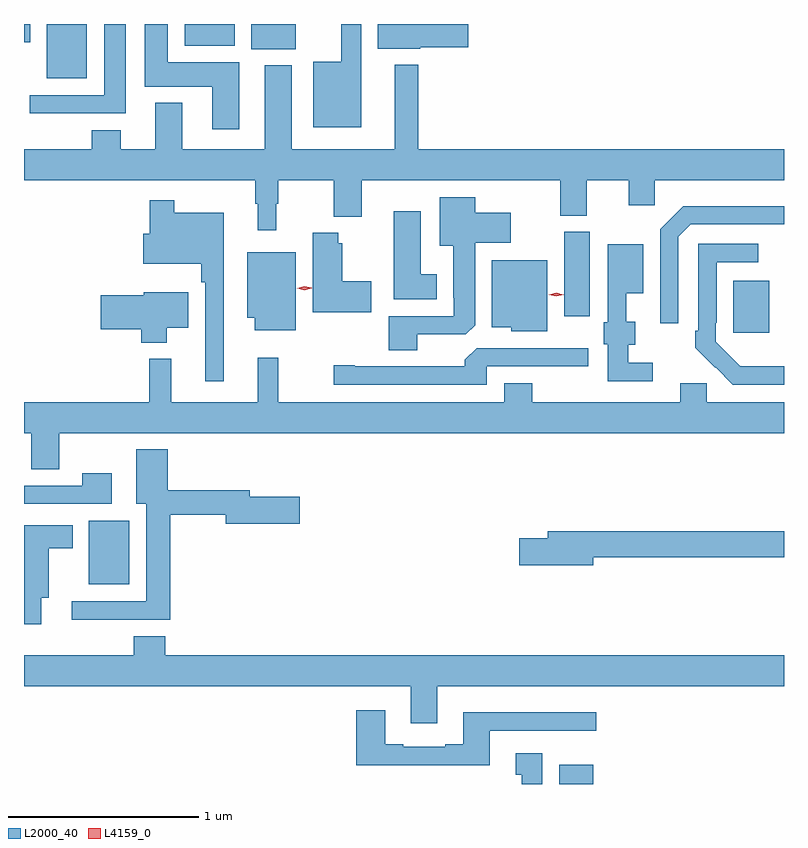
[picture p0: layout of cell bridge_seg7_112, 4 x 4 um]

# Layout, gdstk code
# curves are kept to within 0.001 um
import gdstk
lib = gdstk.Library(unit=1e-6, precision=1e-09)
def R(c, l, rs):  # rectangles x0, y0, x1, y1
    for r in rs: c.add(gdstk.rectangle(r[:2], r[2:], *l))
def P(c, l, *ps):  # polygons
    for p in ps: c.add(gdstk.Polygon(p, *l))
L2000_40 = (2000, 40)
L4159_0 = (4159, 0)

bridge_seg7_112 = lib.new_cell('bridge_seg7_112')
R(bridge_seg7_112, L2000_40, [(1133.687,998.77,1133.866,998.872), (1131.212,999.821,1131.424,1000.156), (1134.605,1001.145,1134.793,1001.419), (1133.714,1001.232,1133.848,1001.676), (1130.99,1002.485,1131.202,1002.77), (1132.067,1002.638,1132.3,1002.77), (1131.716,1002.656,1131.979,1002.77), (1130.871,1002.674,1130.905,1002.77)])
P(bridge_seg7_112, L2000_40, [(1132.645,1002.77),(1132.541,1002.77),(1132.541,1002.571),(1132.394,1002.571),(1132.394,1002.227),(1132.645,1002.227)],
  [(1131.406,1002.77),(1131.293,1002.77),(1131.293,1002.396),(1130.901,1002.396),(1130.901,1002.299),(1131.406,1002.299)],
  [(1132.956,1002.647),(1133.209,1002.647),(1133.209,1002.77),(1132.733,1002.77),(1132.733,1002.641),(1132.956,1002.641)],
  [(1132.003,1002.568),(1131.628,1002.568),(1131.628,1002.77),(1131.506,1002.77),(1131.506,1002.44),(1131.863,1002.44),(1131.863,1002.216),(1132.003,1002.216)],
  [(1132.199,1001.825),(1132.21,1001.825),(1132.21,1001.948),(1132.501,1001.948),(1132.501,1001.756),(1132.648,1001.756),(1132.648,1001.948),(1133.693,1001.948),(1133.693,1001.761),(1133.833,1001.761),(1133.833,1001.948),(1134.053,1001.948),(1134.053,1001.817),(1134.192,1001.817),(1134.192,1001.948),(1134.871,1001.948),(1134.871,1002.112),(1132.945,1002.112),(1132.945,1002.556),(1132.823,1002.556),(1132.823,1002.112),(1132.279,1002.112),(1132.279,1002.553),(1132.139,1002.553),(1132.139,1002.112),(1131.703,1002.112),(1131.703,1002.355),(1131.563,1002.355),(1131.563,1002.112),(1131.379,1002.112),(1131.379,1002.211),(1131.227,1002.211),(1131.227,1002.112),(1130.871,1002.112),(1130.871,1001.948),(1132.089,1001.948),(1132.089,1001.825),(1132.1,1001.825),(1132.1,1001.685),(1132.199,1001.685)],
  [(1132.942,1001.136),(1133.196,1001.136),(1133.245,1001.185),(1133.245,1001.618),(1133.434,1001.618),(1133.434,1001.776),(1133.245,1001.776),(1133.245,1001.857),(1133.06,1001.857),(1133.06,1001.603),(1133.129,1001.603),(1133.129,1001.329),(1133.133,1001.329),(1133.133,1001.232),(1132.79,1001.232),(1132.79,1001.053),(1132.942,1001.053)],
  [(1131.923,1001.129),(1131.921,1001.129),(1131.921,1001.776),(1131.661,1001.776),(1131.661,1001.842),(1131.532,1001.842),(1131.532,1001.665),(1131.498,1001.665),(1131.498,1001.507),(1131.805,1001.507),(1131.805,1001.411),(1131.825,1001.411),(1131.825,1000.89),(1131.923,1000.89)],
  [(1134.315,1001.649),(1134.381,1001.715),(1134.871,1001.715),(1134.871,1001.812),(1134.34,1001.812),(1134.219,1001.691),(1134.219,1001.196),(1134.315,1001.196)],
  [(1133.044,1001.452),(1132.96,1001.452),(1132.96,1001.785),(1132.817,1001.785),(1132.817,1001.321),(1133.044,1001.321)],
  [(1132.699,1001.415),(1132.546,1001.415),(1132.546,1001.617),(1132.524,1001.617),(1132.524,1001.671),(1132.391,1001.671),(1132.391,1001.252),(1132.699,1001.252)],
  [(1134.871,1000.968),(1134.642,1000.969),(1134.513,1001.097),(1134.513,1001.197),(1134.516,1001.197),(1134.516,1001.517),(1134.736,1001.517),(1134.736,1001.613),(1134.42,1001.613),(1134.42,1001.155),(1134.405,1001.155),(1134.405,1001.067),(1134.602,1000.872),(1134.871,1000.872)],
  [(1134.181,1000.986),(1134.052,1000.986),(1134.052,1001.081),(1134.088,1001.081),(1134.088,1001.203),(1134.041,1001.203),(1134.041,1001.354),(1134.13,1001.354),(1134.13,1001.611),(1133.943,1001.611),(1133.943,1001.199),(1133.923,1001.199),(1133.923,1001.085),(1133.943,1001.085),(1133.943,1000.89),(1134.181,1000.89)],
  [(1132.3,1001.569),(1132.046,1001.569),(1132.046,1001.225),(1132.085,1001.225),(1132.085,1001.159),(1132.3,1001.159)],
  [(1133.626,1001.527),(1133.333,1001.527),(1133.333,1001.174),(1133.436,1001.174),(1133.436,1001.153),(1133.626,1001.153)],
  [(1131.622,1001.171),(1131.736,1001.171),(1131.736,1001.359),(1131.5,1001.359),(1131.5,1001.342),(1131.276,1001.342),(1131.276,1001.164),(1131.488,1001.164),(1131.488,1001.093),(1131.622,1001.093)],
  [(1133.307,1000.968),(1133.842,1000.968),(1133.842,1001.064),(1133.253,1001.064),(1133.192,1001.002),(1133.192,1000.968),(1132.612,1000.968),(1132.612,1000.973),(1132.5,1000.973),(1132.5,1000.872),(1133.307,1000.872)],
  [(1131.057,1000.616),(1134.871,1000.616),(1134.871,1000.78),(1134.465,1000.78),(1134.465,1000.878),(1134.326,1000.878),(1134.326,1000.78),(1133.547,1000.78),(1133.547,1000.879),(1133.399,1000.879),(1133.399,1000.78),(1132.21,1000.78),(1132.21,1001.014),(1132.1,1001.014),(1132.1,1000.78),(1131.647,1000.78),(1131.647,1001.008),(1131.529,1001.008),(1131.529,1000.78),(1130.871,1000.78),(1130.871,1000.616),(1130.909,1000.616),(1130.909,1000.426),(1131.057,1000.426)],
  [(1131.641,1000.186),(1131.932,1000.186),(1131.932,1000.139),(1132.321,1000.139),(1132.321,1000.281),(1132.06,1000.281),(1132.06,1000.315),(1131.628,1000.315),(1131.628,1000.531),(1131.461,1000.531),(1131.461,1000.244),(1131.515,1000.244),(1131.515,999.732),(1131.123,999.732),(1131.123,999.635),(1131.641,999.635)],
  [(1131.334,1000.405),(1131.178,1000.405),(1131.178,1000.341),(1130.871,1000.341),(1130.871,1000.245),(1131.334,1000.245)],
  [(1130.962,999.749),(1131.001,999.749),(1131.001,1000.01),(1131.127,1000.01),(1131.127,1000.132),(1130.871,1000.132),(1130.871,999.612),(1130.962,999.612)],
  [(1133.866,999.964),(1134.871,999.964),(1134.871,1000.1),(1133.627,1000.1),(1133.627,1000.064),(1133.478,1000.064),(1133.478,999.922),(1133.866,999.922)],
  [(1133.047,999.284),(1134.871,999.284),(1134.871,999.448),(1131.614,999.448),(1131.614,999.547),(1131.449,999.547),(1131.449,999.448),(1130.871,999.448),(1130.871,999.284),(1132.907,999.284),(1132.907,999.09),(1133.047,999.09)],
  [(1133.323,999.051),(1133.884,999.051),(1133.884,999.148),(1133.183,999.148),(1133.183,998.98),(1133.087,998.98),(1133.087,998.967),(1132.867,998.967),(1132.867,998.98),(1132.771,998.98),(1132.771,999.157),(1132.619,999.157),(1132.619,998.87),(1133.323,998.87)],
  [(1133.599,998.932),(1133.459,998.932),(1133.459,998.819),(1133.492,998.819),(1133.492,998.77),(1133.599,998.77)])
P(bridge_seg7_112, L4159_0, [(1132.347,1001.37),(1132.308,1001.38),(1132.308,1001.38),(1132.308,1001.38),(1132.347,1001.39),(1132.386,1001.381),(1132.386,1001.38),(1132.386,1001.38)],
  [(1133.672,1001.336),(1133.632,1001.346),(1133.632,1001.346),(1133.632,1001.346),(1133.672,1001.356),(1133.712,1001.346),(1133.712,1001.346),(1133.712,1001.346)])

lib.write_gds('bridge_seg7_112.gds')
